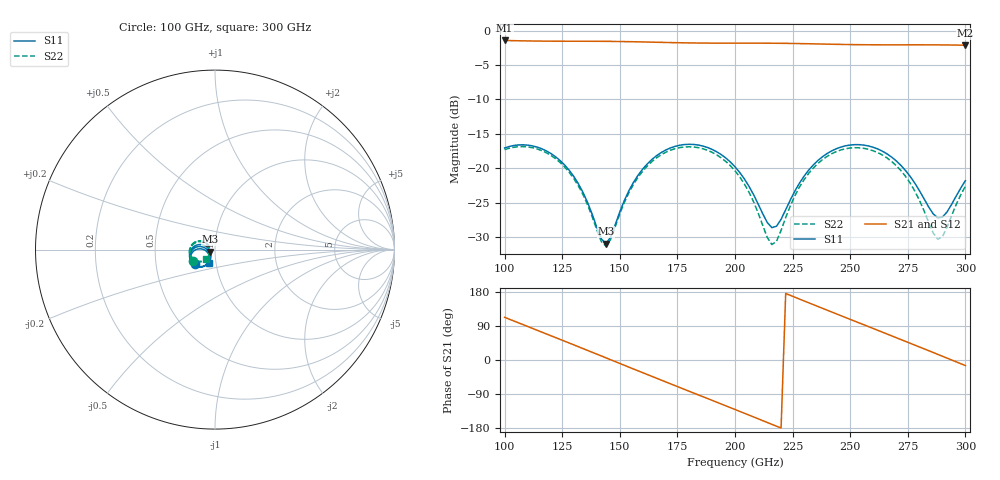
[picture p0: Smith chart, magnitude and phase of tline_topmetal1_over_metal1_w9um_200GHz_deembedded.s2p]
! Created with skrf 2.0.1 (http://scikit-rf.org).
# GHz S DB R 50.0
!freq dBS11 angS11 dBS21 angS21 dBS12 angS12 dBS22 angS22
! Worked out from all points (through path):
!   101 points, 100 GHz to 300 GHz, reference 50 ohm
!   highest |S21| = -1.42 dB at 100 GHz (marker M1); lowest = -2.1 dB at 300 GHz (marker M2)
!   group delay of S21, straight-line fit = 6.77 ps
!   lowest |S11| = -31.0 dB at 144 GHz (marker M3), VSWR 1.06, Z = 47.5 - j1.07 ohm
!   |S11| at or under -10 dB: start of sweep to end of sweep
!   |S22| runs from -31.3 to -16.9 dB; largest |S21 - S12| = 1.4e-13
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100  -17.06 -143.8  -1.42 112.7  -1.42 112.7  -17.31 -152.9
108  -16.60 -160.0  -1.48 93.3  -1.48 93.3  -16.86 -169.9
116  -17.16 -175.9  -1.51 74.0  -1.51 74.0  -17.43 173.4
126  -19.52 166.4  -1.53 49.8  -1.53 49.8  -19.81 154.6
134  -23.51 158.4  -1.54 30.3  -1.54 30.3  -23.83 145.7
144  -30.96 -156.5  -1.55 5.7  -1.55 5.7  -31.35 -169.5
156  -22.03 -116.1  -1.61 -23.8  -1.61 -23.8  -22.31 -130.7
168  -17.72 -133.2  -1.70 -53.2  -1.70 -53.2  -18.04 -149.5
184  -16.63 -162.7  -1.79 -91.9  -1.79 -91.9  -17.01 178.7
200  -19.80 171.6  -1.81 -130.6  -1.81 -130.6  -20.39 149.6
206  -22.60 167.7  -1.81 -145.2  -1.81 -145.2  -23.45 143.7
216  -28.65 -159.2  -1.82 -169.7  -1.82 -169.7  -31.11 -178.4
218  -28.45 -144.1  -1.83 -174.7  -1.83 -174.7  -30.65 -158.6
224  -24.63 -119.0  -1.85 170.6  -1.85 170.6  -25.49 -132.9
234  -19.52 -121.4  -1.91 146.1  -1.91 146.1  -19.97 -139.9
244  -17.17 -136.3  -1.98 121.7  -1.98 121.7  -17.59 -157.6
252  -16.58 -150.0  -2.03 102.4  -2.03 102.4  -17.02 -173.2
268  -18.39 -175.6  -2.06 63.8  -2.06 63.8  -19.03 156.9
276  -21.19 177.0  -2.06 44.3  -2.06 44.3  -22.16 146.5
288  -27.23 -153.5  -2.06 14.9  -2.06 14.9  -30.34 -178.6
292  -26.39 -130.2  -2.08 5.1  -2.08 5.1  -28.62 -146.9
300  -21.82 -114.2  -2.11 -14.6  -2.11 -14.6  -22.62 -134.2
